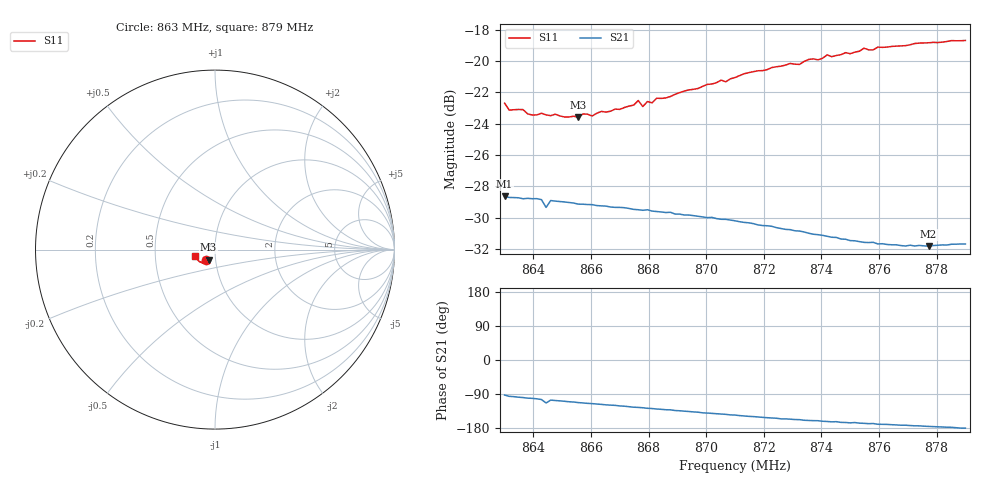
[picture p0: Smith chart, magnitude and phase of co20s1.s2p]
# HZ S RI R 50
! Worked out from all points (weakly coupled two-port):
!   101 points, 863 MHz to 879 MHz, reference 50 ohm
!   highest |S21| = -28.63 dB at 863 MHz (marker M1); lowest = -31.8 dB at 877.72 MHz (marker M2)
!   lowest |S11| = -23.6 dB at 865.56 MHz (marker M3), VSWR 1.14, Z = 46.2 - j5.15 ohm
!   |S11| at or under -10 dB: start of sweep to end of sweep
!   S12 and S22 are empty: the file has one direction only
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8.63e8  -0.0478 -0.0557  -0.00161 -0.037  0 0  0 0
8.6316e8  -0.0442 -0.054  -0.00375 -0.0365  0 0  0 0
8.6364e8  -0.0429 -0.0554  -0.00576 -0.0359  0 0  0 0
8.6396e8  -0.0404 -0.0538  -0.00707 -0.0357  0 0  0 0
8.6428e8  -0.0394 -0.0556  -0.00893 -0.035  0 0  0 0
8.6444e8  -0.0398 -0.0544  -0.0136 -0.0313  0 0  0 0
8.646e8  -0.0394 -0.0541  -0.00979 -0.0346  0 0  0 0
8.6556e8  -0.0362 -0.0554  -0.0133 -0.0323  0 0  0 0
8.6572e8  -0.0355 -0.0577  -0.0138 -0.0321  0 0  0 0
8.6604e8  -0.0336 -0.0577  -0.0148 -0.0315  0 0  0 0
8.67e8  -0.0349 -0.0608  -0.0177 -0.0292  0 0  0 0
8.6764e8  -0.0369 -0.0651  -0.0193 -0.0274  0 0  0 0
8.678e8  -0.0352 -0.0623  -0.0197 -0.027  0 0  0 0
8.6796e8  -0.0356 -0.0652  -0.0204 -0.0266  0 0  0 0
8.6844e8  -0.0363 -0.0668  -0.0213 -0.0252  0 0  0 0
8.71e8  -0.049 -0.0739  -0.0254 -0.0176  0 0  0 0
8.7372e8  -0.0692 -0.0744  -0.0264 -0.00957  0 0  0 0
8.75e8  -0.0799 -0.069  -0.0259 -0.00651  0 0  0 0
8.7548e8  -0.0865 -0.0679  -0.0257 -0.00589  0 0  0 0
8.7644e8  -0.093 -0.0612  -0.0256 -0.00417  0 0  0 0
8.7772e8  -0.1022 -0.0513  -0.0256 -0.00213  0 0  0 0
8.79e8  -0.1102 -0.0375  -0.0261 -8e-05  0 0  0 0
